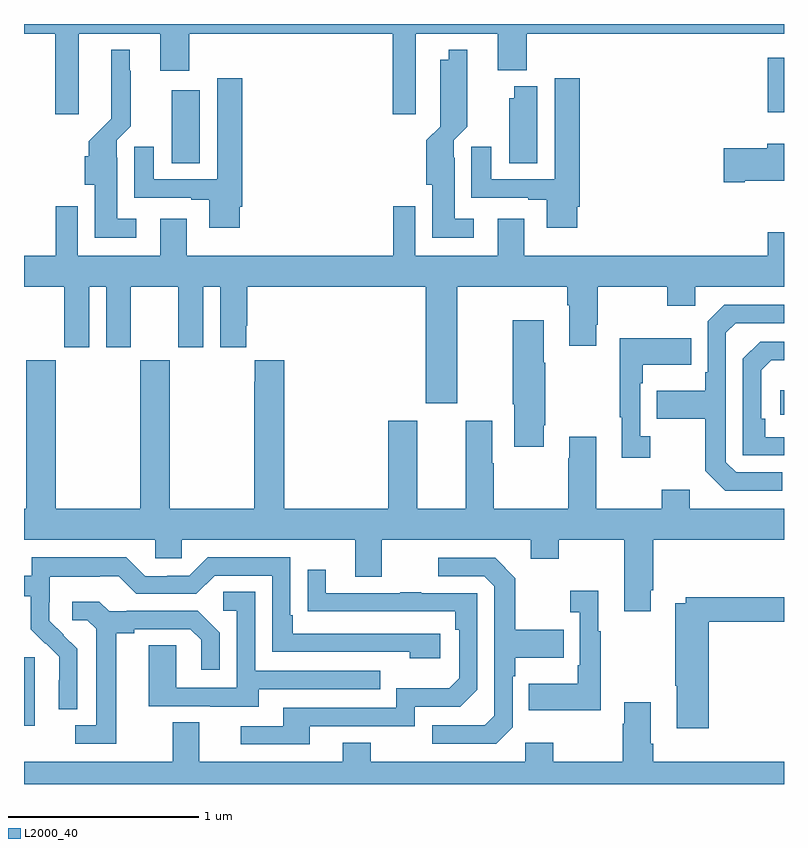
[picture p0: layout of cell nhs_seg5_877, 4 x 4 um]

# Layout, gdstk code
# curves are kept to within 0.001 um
import gdstk
lib = gdstk.Library(unit=1e-6, precision=1e-09)
def R(c, l, rs):  # rectangles x0, y0, x1, y1
    for r in rs: c.add(gdstk.rectangle(r[:2], r[2:], *l))
def P(c, l, *ps):  # polygons
    for p in ps: c.add(gdstk.Polygon(p, *l))
L2000_40 = (2000, 40)

nhs_seg5_877 = lib.new_cell('nhs_seg5_877')
R(nhs_seg5_877, L2000_40, [(167,865.106,167.056,865.467), (170.979,866.742,171,866.872), (167.777,868.066,167.926,868.45), (170.915,868.334,171,868.621)])
P(nhs_seg5_877, L2000_40, [(167.287,868.748),(167.717,868.748),(167.717,868.554),(167.87,868.554),(167.87,868.748),(168.941,868.748),(168.941,868.323),(169.063,868.323),(169.063,868.748),(169.493,868.748),(169.493,868.556),(169.646,868.556),(169.646,868.748),(171,868.748),(171,868.799),(167,868.799),(167,868.748),(167.165,868.748),(167.165,868.323),(167.287,868.323)],
  [(169.366,867.775),(169.267,867.775),(169.267,868.094),(169.263,868.094),(169.263,868.188),(169.333,868.258),(169.332,868.663),(169.235,868.663),(169.235,868.612),(169.19,868.612),(169.19,868.258),(169.118,868.186),(169.118,867.954),(169.148,867.954),(169.148,867.674),(169.366,867.674)],
  [(167.59,867.775),(167.491,867.775),(167.491,868.094),(167.487,868.094),(167.487,868.188),(167.561,868.262),(167.561,868.553),(167.557,868.553),(167.557,868.663),(167.459,868.663),(167.46,868.3),(167.342,868.182),(167.342,868.103),(167.321,868.103),(167.321,867.954),(167.372,867.954),(167.372,867.674),(167.59,867.674)],
  [(169.912,867.838),(169.925,867.838),(169.925,868.513),(169.793,868.513),(169.793,867.981),(169.459,867.981),(169.459,868.153),(169.355,868.153),(169.355,867.885),(169.655,867.885),(169.655,867.873),(169.751,867.873),(169.751,867.726),(169.912,867.726)],
  [(168.136,867.838),(168.149,867.838),(168.149,868.513),(168.017,868.513),(168.017,867.981),(167.683,867.981),(167.683,868.153),(167.579,868.153),(167.579,867.885),(167.879,867.885),(167.879,867.873),(167.975,867.873),(167.975,867.726),(168.136,867.726)],
  [(169.702,868.471),(169.58,868.471),(169.58,868.407),(169.553,868.407),(169.553,868.066),(169.702,868.066)],
  [(170.794,867.974),(171,867.974),(171,868.168),(170.912,868.168),(170.912,868.145),(170.682,868.145),(170.682,867.967),(170.794,867.967)],
  [(167.283,867.841),(167.167,867.841),(167.167,867.58),(167,867.58),(167,867.416),(167.213,867.416),(167.213,867.099),(167.344,867.099),(167.344,867.416),(167.432,867.416),(167.432,867.099),(167.563,867.099),(167.563,867.416),(167.813,867.416),(167.813,867.099),(167.944,867.099),(167.944,867.416),(168.032,867.416),(168.032,867.099),(168.169,867.099),(168.169,867.211),(168.176,867.211),(168.176,867.416),(169.115,867.416),(169.115,866.802),(169.279,866.802),(169.279,867.416),(169.859,867.416),(169.859,867.32),(169.871,867.32),(169.871,867.105),(170.011,867.105),(170.011,867.217),(170.019,867.217),(170.019,867.416),(170.386,867.416),(170.386,867.317),(170.532,867.317),(170.532,867.416),(171,867.416),(171,867.704),(170.915,867.704),(170.915,867.58),(169.633,867.58),(169.633,867.775),(169.493,867.775),(169.493,867.58),(169.059,867.58),(169.059,867.841),(168.943,867.841),(168.943,867.58),(167.857,867.58),(167.857,867.775),(167.717,867.775),(167.717,867.58),(167.283,867.58)],
  [(170.992,866.439),(170.748,866.439),(170.694,866.493),(170.694,867.174),(170.745,867.225),(171,867.225),(171,867.321),(170.685,867.321),(170.598,867.234),(170.598,866.965),(170.586,866.965),(170.586,866.869),(170.329,866.869),(170.329,866.722),(170.586,866.722),(170.586,866.449),(170.691,866.343),(170.992,866.343)],
  [(169.735,866.686),(169.743,866.686),(169.743,867.017),(169.735,867.017),(169.735,867.241),(169.573,867.241),(169.573,866.797),(169.58,866.797),(169.58,866.574),(169.735,866.574)],
  [(170.296,866.63),(170.244,866.63),(170.244,866.909),(170.257,866.909),(170.257,867.005),(170.513,867.005),(170.513,867.145),(170.136,867.145),(170.136,866.729),(170.147,866.729),(170.147,866.517),(170.296,866.517)],
  [(171,866.625),(170.9,866.625),(170.9,866.722),(170.88,866.722),(170.88,866.976),(170.933,867.029),(171,867.029),(171,867.126),(170.874,867.126),(170.784,867.036),(170.784,866.529),(171,866.529)],
  [(168.371,867.028),(168.215,867.028),(168.215,866.915),(168.211,866.915),(168.211,866.248),(167.766,866.248),(167.766,867.028),(167.611,867.028),(167.611,866.248),(167.166,866.248),(167.166,867.028),(167.011,867.028),(167.011,866.248),(167,866.248),(167,866.084),(167.691,866.084),(167.691,865.986),(167.829,865.986),(167.829,866.084),(168.743,866.084),(168.743,865.89),(168.883,865.89),(168.883,866.084),(169.667,866.084),(169.667,865.985),(169.815,865.985),(169.815,866.084),(170.159,866.084),(170.159,865.707),(170.299,865.707),(170.299,865.819),(170.312,865.819),(170.312,866.084),(171,866.084),(171,866.248),(170.503,866.248),(170.503,866.347),(170.356,866.347),(170.356,866.248),(170.011,866.248),(170.011,866.626),(169.871,866.626),(169.871,866.513),(169.864,866.513),(169.864,866.248),(169.473,866.248),(169.473,866.486),(169.465,866.486),(169.465,866.71),(169.325,866.71),(169.325,866.248),(169.069,866.248),(169.069,866.71),(168.917,866.71),(168.917,866.248),(168.371,866.248)],
  [(167.28,865.51),(167.134,865.658),(167.134,865.755),(167.136,865.755),(167.136,865.889),(167.399,865.889),(167.399,865.893),(167.499,865.893),(167.592,865.8),(167.907,865.8),(168.003,865.896),(168.306,865.896),(168.306,865.494),(169.031,865.494),(169.031,865.46),(169.192,865.46),(169.192,865.59),(168.415,865.59),(168.415,865.687),(168.402,865.687),(168.402,865.992),(167.967,865.992),(167.871,865.896),(167.753,865.896),(167.753,865.893),(167.637,865.893),(167.537,865.993),(167.04,865.993),(167.04,865.896),(167,865.896),(167,865.788),(167.035,865.788),(167.035,865.613),(167.112,865.536),(167.115,865.539),(167.186,865.469),(167.186,865.346),(167.184,865.346),(167.184,865.192),(167.28,865.192)],
  [(169.572,865.098),(169.572,865.367),(169.585,865.367),(169.585,865.463),(169.841,865.463),(169.841,865.611),(169.585,865.611),(169.585,865.883),(169.479,865.989),(169.179,865.989),(169.179,865.893),(169.422,865.893),(169.476,865.839),(169.476,865.158),(169.425,865.107),(169.149,865.107),(169.149,865.011),(169.485,865.011)],
  [(168.505,865.104),(169.056,865.104),(169.056,865.206),(169.296,865.206),(169.386,865.296),(169.386,865.803),(169.091,865.803),(169.091,865.808),(168.979,865.808),(168.979,865.803),(168.589,865.803),(168.589,865.927),(168.493,865.927),(168.493,865.708),(169.27,865.707),(169.27,865.61),(169.29,865.61),(169.29,865.356),(169.237,865.303),(168.96,865.303),(168.96,865.2),(168.365,865.2),(168.365,865.104),(168.141,865.104),(168.141,865.008),(168.505,865.008)],
  [(170.035,865.603),(170.023,865.603),(170.023,865.816),(169.875,865.816),(169.875,865.703),(169.926,865.703),(169.926,865.423),(169.914,865.423),(169.914,865.327),(169.657,865.327),(169.657,865.187),(170.035,865.187)],
  [(168.235,865.299),(168.875,865.299),(168.875,865.395),(168.216,865.395),(168.216,865.811),(168.048,865.811),(168.048,865.71),(168.12,865.71),(168.12,865.305),(167.802,865.305),(167.802,865.529),(167.657,865.529),(167.657,865.209),(167.981,865.209),(167.981,865.205),(168.235,865.205)],
  [(170.603,865.654),(171,865.654),(171,865.783),(170.484,865.783),(170.484,865.75),(170.428,865.75),(170.428,865.315),(170.435,865.315),(170.435,865.092),(170.603,865.092)],
  [(167.485,865.592),(167.581,865.592),(167.581,865.614),(167.876,865.614),(167.933,865.557),(167.933,865.401),(168.03,865.401),(168.03,865.594),(167.914,865.71),(167.542,865.71),(167.542,865.707),(167.448,865.707),(167.396,865.759),(167.253,865.759),(167.253,865.662),(167.334,865.662),(167.381,865.615),(167.381,865.107),(167.271,865.107),(167.271,865.011),(167.485,865.011)],
  [(171,864.916),(170.312,864.916),(170.312,865.012),(170.299,865.012),(170.299,865.228),(170.159,865.228),(170.159,865.115),(170.152,865.115),(170.152,864.916),(169.785,864.916),(169.785,865.015),(169.638,865.015),(169.638,864.916),(168.825,864.916),(168.825,865.015),(168.677,865.015),(168.677,864.916),(167.923,864.916),(167.923,865.124),(167.783,865.124),(167.783,864.916),(167,864.916),(167,864.799),(171,864.799)])

lib.write_gds('nhs_seg5_877.gds')
